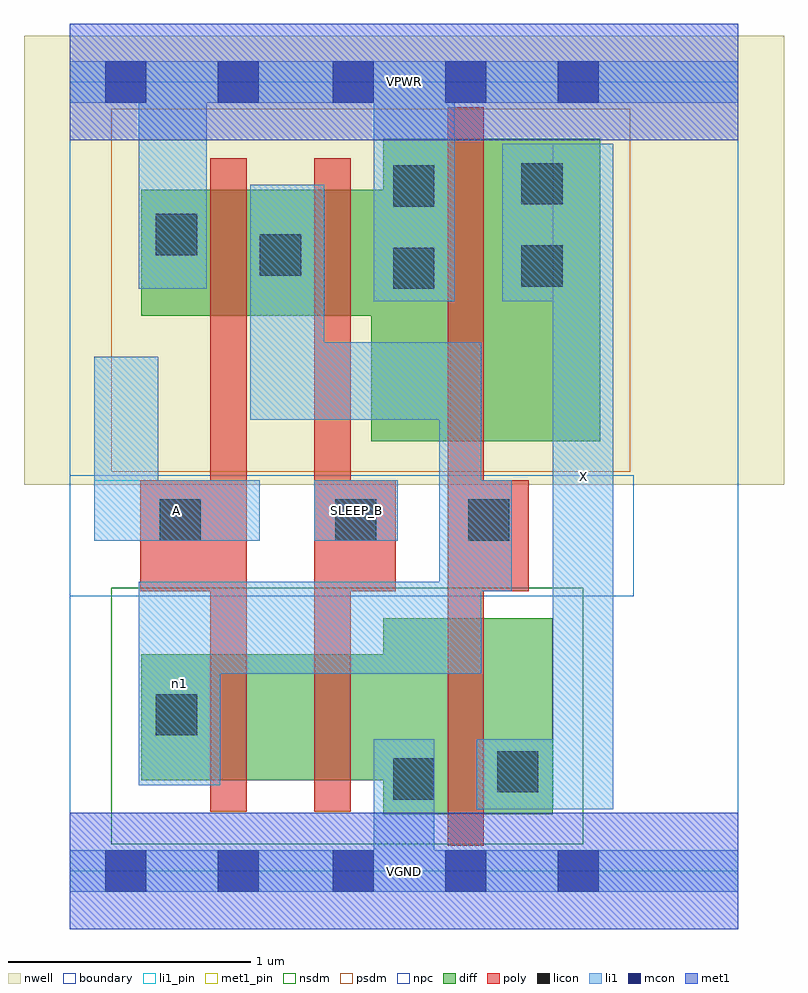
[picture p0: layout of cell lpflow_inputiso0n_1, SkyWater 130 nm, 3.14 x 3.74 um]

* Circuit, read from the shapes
.subckt lpflow_inputiso0n_1 A SLEEP_B VGND VPWR X n1
XM1 n2 A n1 VSUBS sky130_fd_pr__nfet_01v8 w=0.52 l=0.15
XM2 VGND SLEEP_B n2 VSUBS sky130_fd_pr__nfet_01v8 w=0.52 l=0.15
XM3 X n1 VGND VSUBS sky130_fd_pr__nfet_01v8 w=0.81 l=0.15
XM4 n1 A VPWR n3 sky130_fd_pr__pfet_01v8 w=0.52 l=0.15
XM5 VPWR SLEEP_B n1 n3 sky130_fd_pr__pfet_01v8 w=0.52 l=0.15
XM6 X n1 VPWR n3 sky130_fd_pr__pfet_01v8 w=1.25 l=0.15
.ends

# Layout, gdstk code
import gdstk
lib = gdstk.Library(unit=1e-6, precision=1e-09)
def R(c, l, rs):  # rectangles x0, y0, x1, y1
    for r in rs: c.add(gdstk.rectangle(r[:2], r[2:], *l))
def A(c, l, x, y, w, h, nx, ny, dx, dy):  # array of equal rectangles
    R(c, l, [(x+i*dx, y+j*dy, x+i*dx+w, y+j*dy+h) for i in range(nx) for j in range(ny)])
nwell = (64, 20)
diff = (65, 20)
poly = (66, 20)
licon = (66, 44)
li1_pin = (67, 16)
li1 = (67, 20)
mcon = (67, 44)
met1_pin = (68, 16)
met1 = (68, 20)
nsdm = (93, 44)
psdm = (94, 20)
npc = (95, 20)
boundary = (235, 4)

lpflow_inputiso0n_1 = lib.new_cell('lpflow_inputiso0n_1')
R(lpflow_inputiso0n_1, nwell, [(-0.19,1.595,2.95,3.45), (0,1.595,2.76,3.45)])
R(lpflow_inputiso0n_1, diff, [(1.295,0.235,1.995,1.045), (0.295,0.375,1.995,0.895), (1.245,1.775,2.19,2.815), (1.295,1.775,2.19,3.025), (0.295,2.295,2.19,2.815)])
R(lpflow_inputiso0n_1, poly, [(1.56,0.105,1.71,3.155), (0.58,0.245,0.73,2.945), (1.01,0.245,1.16,2.945), (0.29,1.155,0.73,1.615), (1.01,1.155,1.345,1.615), (1.56,1.155,1.895,1.615)])
R(lpflow_inputiso0n_1, licon, [(1.335,0.295,1.505,0.465), (1.765,0.325,1.935,0.495), (0.355,0.56,0.525,0.73), (0.37,1.365,0.54,1.535), (1.095,1.365,1.265,1.535), (1.645,1.365,1.815,1.535), (1.335,2.405,1.505,2.575), (1.865,2.415,2.035,2.585), (0.785,2.46,0.955,2.63), (0.355,2.545,0.525,2.715), (1.335,2.745,1.505,2.915), (1.865,2.755,2.035,2.925)])
R(lpflow_inputiso0n_1, li1_pin, [(1.995,0.255,2.245,3.005), (0.1,1.365,0.785,1.615), (1.01,1.365,1.355,1.615)])
R(lpflow_inputiso0n_1, li1, [(0,-0.085,2.76,0.085), (1.255,-0.085,1.505,0.545), (1.68,0.255,2.245,0.545), (1.995,0.255,2.245,3.005), (0.285,0.355,0.62,1.195), (0.285,0.815,1.7,1.195), (1.525,0.815,1.7,2.185), (1.525,1.155,1.825,1.615), (0.1,1.365,0.785,1.615), (0.1,1.365,0.365,2.125), (1.01,1.365,1.355,1.615), (0.745,1.865,1.05,2.835), (0.745,1.865,1.7,2.185), (1.255,2.355,1.59,3.345), (1.785,2.355,2.245,3.005), (0.285,2.405,0.565,3.345), (0,3.175,2.76,3.345)])
A(lpflow_inputiso0n_1, mcon, 1.085, -0.085, 0.17, 0.17, 3, 2, 0.465, 3.26)
R(lpflow_inputiso0n_1, mcon, [(0.145,-0.085,0.315,0.085), (0.61,-0.085,0.78,0.085), (0.145,3.175,0.315,3.345), (0.61,3.175,0.78,3.345)])
R(lpflow_inputiso0n_1, met1_pin, [(0,-0.24,2.76,0.24), (0,3.02,2.76,3.5)])
R(lpflow_inputiso0n_1, met1, [(0,-0.24,2.76,0.24), (0,3.02,2.76,3.5)])
R(lpflow_inputiso0n_1, nsdm, [(0.17,0.11,2.12,1.17)])
R(lpflow_inputiso0n_1, psdm, [(0.17,1.65,2.315,3.15)])
R(lpflow_inputiso0n_1, npc, [(0,1.135,2.33,1.635)])
R(lpflow_inputiso0n_1, boundary, [(0,0,2.76,3.26)])
lpflow_inputiso0n_1.add(gdstk.Label('A', (0.442,1.49), layer=67, texttype=5))
lpflow_inputiso0n_1.add(gdstk.Label('SLEEP_B', (1.182,1.49), layer=67, texttype=5))
lpflow_inputiso0n_1.add(gdstk.Label('X', (2.12,1.63), layer=67, texttype=5))
lpflow_inputiso0n_1.add(gdstk.Label('n1', (0.452,0.775), layer=67, texttype=5))
lpflow_inputiso0n_1.add(gdstk.Label('VPWR', (1.38,3.26), layer=68, texttype=5))
lpflow_inputiso0n_1.add(gdstk.Label('VGND', (1.38,0), layer=68, texttype=5))
lpflow_inputiso0n_1.add(gdstk.Label('A', (0.442,1.49), layer=67, texttype=16))
lpflow_inputiso0n_1.add(gdstk.Label('SLEEP_B', (1.182,1.49), layer=67, texttype=16))
lpflow_inputiso0n_1.add(gdstk.Label('X', (2.12,1.63), layer=67, texttype=16))
lpflow_inputiso0n_1.add(gdstk.Label('VPWR', (1.38,3.26), layer=68, texttype=16))
lpflow_inputiso0n_1.add(gdstk.Label('VGND', (1.38,0), layer=68, texttype=16))

lib.write_gds('lpflow_inputiso0n_1.gds')
